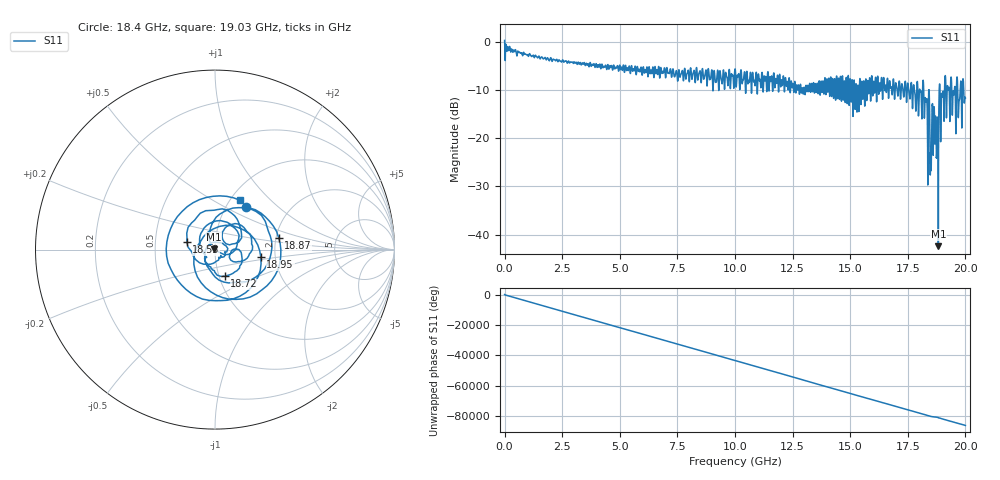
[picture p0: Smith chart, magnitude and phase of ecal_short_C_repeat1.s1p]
! MS46122B
! 2250307/22442219
! 7/24/2025 7:42:42 AM
! C:\USERS\SPARKY\DOCUMENTS\VNA_DATA\JULY24_2025\3K\ECAL_SHORT_C_REPEAT1.S1P
! CHANNEL.1
! TR.MEASUREMENT
! RAW.DATA
# GHZ S RI R 50.0
! FREQ.GHZ  S11RE  S11IM
!; PortSelection: Port_1
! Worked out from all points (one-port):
!   10001 points, 1 MHz to 20 GHz, reference 50 ohm
!   lowest |S11| = -42.4 dB at 18.83 GHz (marker M1), VSWR 1.02, Z = 49.3 + j0.259 ohm
!   |S11| at or under -10 dB: 18.19 GHz to 18.41 GHz (218.3 MHz wide, 1.19 % of centre); 18.42 GHz to 18.86 GHz (439.3 MHz wide, 2.36 % of centre); 18.9 GHz to 19.1 GHz (197.7 MHz wide, 1.04 % of centre) (the widest 3 of 83)
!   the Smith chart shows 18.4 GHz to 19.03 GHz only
!   S11 on the Smith chart (normalised r, x): 18.4 GHz: 1.23, +0.64; 18.55 GHz: 0.73, +0.06; 18.72 GHz: 1.07, -0.32; 18.87 GHz: 2.06, +0.32; 18.95 GHz: 1.68, -0.16; 19.03 GHz: 1.11, +0.67
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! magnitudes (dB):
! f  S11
! 1 MHz  0.4
! 2.501 GHz  -3.8
! 5.001 GHz  -4.8
! 7.501 GHz  -7.7
! 10 GHz  -5.5
! 12.5 GHz  -8.8
! 15 GHz  -7.6
! 15.29 GHz  -14.5
! 16.02 GHz  -8.1
! 17.5 GHz  -8.5
! 18.24 GHz  -13.4
! 18.29 GHz  -12.2
! 18.35 GHz  -18.0
! 18.4 GHz  -10.7
! 18.44 GHz  -13.2
! 18.49 GHz  -22.9
! 18.55 GHz  -15.8
! 18.63 GHz  -13.9
! 18.72 GHz  -16.0
! 18.75 GHz  -23.9
! 18.83 GHz  -42.4
! 18.87 GHz  -8.9
! 18.95 GHz  -11.7
! 19.03 GHz  -10.2
! 19.2 GHz  -11.4
! 19.46 GHz  -10.8
! 19.51 GHz  -10.8
! 20 GHz  -11.6
